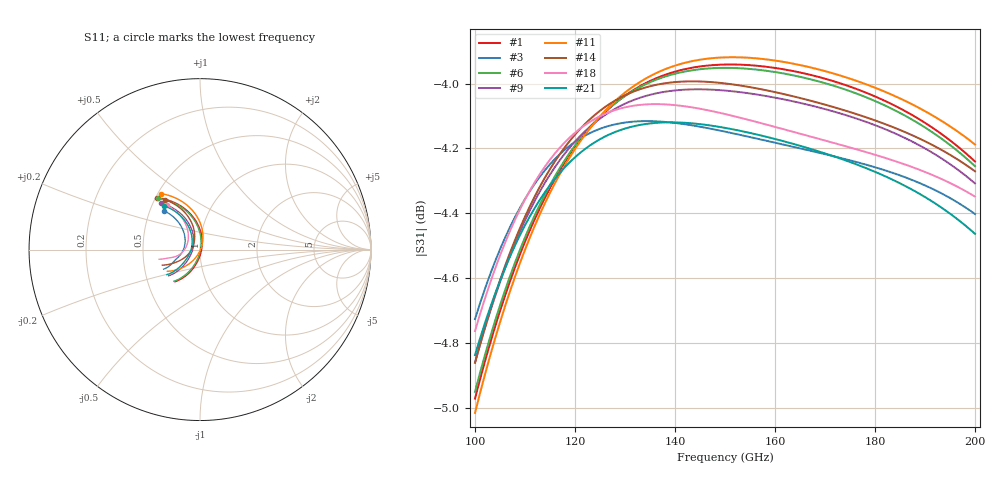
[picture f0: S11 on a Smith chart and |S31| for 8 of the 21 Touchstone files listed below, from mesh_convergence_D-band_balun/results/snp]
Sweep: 100 GHz to 200 GHz
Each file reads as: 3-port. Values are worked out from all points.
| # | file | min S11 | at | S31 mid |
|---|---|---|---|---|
| 1 | balun_amr5_final.s3p | -40.7 dB | 148 GHz | -3.9 dB at 150 GHz |
| 2 | balun_amr5_final_raw.s3p | -36.6 dB | 149 GHz | -3.9 dB at 150 GHz |
| 3 | balun_amr5_iter1.s3p | -20.6 dB | 131 GHz | -4.1 dB at 150 GHz |
| 4 | balun_amr5_iter2.s3p | -27.1 dB | 139 GHz | -4.0 dB at 150 GHz |
| 5 | balun_amr5_iter3.s3p | -38.1 dB | 144 GHz | -4.0 dB at 150 GHz |
| 6 | balun_amr5_iter4.s3p | -51.3 dB | 147 GHz | -4.0 dB at 150 GHz |
| 7 | balun_mesh1um.s3p | -40.2 dB | 146 GHz | -4.0 dB at 150 GHz |
| 8 | balun_mesh1um_raw.s3p | -50.0 dB | 146 GHz | -3.9 dB at 150 GHz |
| 9 | balun_mesh2um.s3p | -27.6 dB | 141 GHz | -4.0 dB at 150 GHz |
| 10 | balun_mesh2um_order3.s3p | -46.8 dB | 147 GHz | -4.0 dB at 150 GHz |
| 11 | balun_mesh2um_order3_raw.s3p | -51.8 dB | 147 GHz | -3.9 dB at 150 GHz |
| 12 | balun_mesh2um_raw.s3p | -29.6 dB | 141 GHz | -4.0 dB at 150 GHz |
| 13 | balun_mesh3um.s3p | -25.2 dB | 138 GHz | -4.1 dB at 150 GHz |
| 14 | balun_mesh3um_raw.s3p | -26.9 dB | 138 GHz | -4.0 dB at 150 GHz |
| 15 | balun_mesh4um.s3p | -22.5 dB | 134 GHz | -4.1 dB at 150 GHz |
| 16 | balun_mesh4um_raw.s3p | -23.9 dB | 134 GHz | -4.0 dB at 150 GHz |
| 17 | balun_mesh5um.s3p | -20.6 dB | 131 GHz | -4.1 dB at 150 GHz |
| 18 | balun_mesh5um_raw.s3p | -21.8 dB | 131 GHz | -4.1 dB at 150 GHz |
| 19 | balun_skin_mesh1.s3p | -46.1 dB | 144 GHz | -4.1 dB at 150 GHz |
| 20 | balun_skin_mesh2.s3p | -28.3 dB | 140 GHz | -4.1 dB at 150 GHz |
| 21 | balun_skin_mesh3.s3p | -25.9 dB | 137 GHz | -4.1 dB at 150 GHz |
